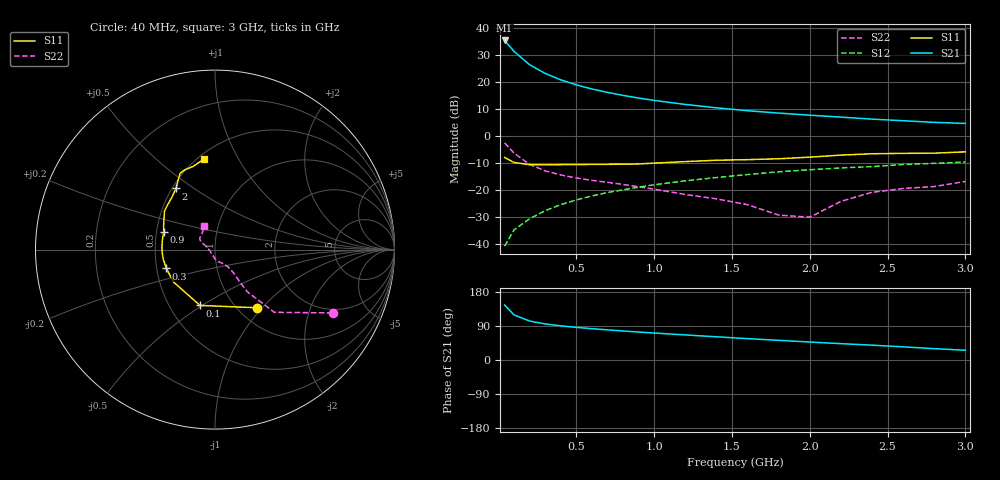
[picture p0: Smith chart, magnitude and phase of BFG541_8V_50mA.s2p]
! Filename:  BFG541L.S2P  Version:  3.0
! Philips part #: BFG541  Date: Feb 1992
! Bias condition: Vce=8V, Ic=50mA
#  MHz  S  MA  R  50
! Freq  S11  S21  S12  S22  !GUM [dB]
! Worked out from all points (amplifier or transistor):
!   21 points, 40 MHz to 3 GHz, reference 50 ohm
!   highest |S21| = 35.4 dB at 40 MHz (marker M1)
!   |S21| within 3 dB of that: start of sweep to 84.66 MHz
!   unconditionally stable (mu >= 1): 416.9 MHz to 2.911 GHz
!   at 300 MHz: K = 0.97, MSG = 25.5 dB, |S12| = -27.7 dB
!   at 1 GHz: K = 1.05, MAG = 14.3 dB, |S12| = -18.1 dB
!   at 3 GHz: K = 0.99, MSG = 7.2 dB, |S12| = -9.7 dB
!   S11 on the Smith chart (normalised r, x): 40 MHz: 1.21, -0.93; 100 MHz: 0.71, -0.49; 300 MHz: 0.56, -0.13; 900 MHz: 0.55, +0.12; 2 GHz: 0.52, +0.43; 3 GHz: 0.54, +0.73
40  0.399 -54.3  59.17 145.2  0.009 72.8  0.744 -28.3
100  0.322 -105.0  37.2 119.1  0.018 68.0  0.481 -46.6
200  0.293 -141.7  21.05 102.9  0.029 70.9  0.297 -52.5
300  0.291 -158.9  14.5 95.2  0.041 73.2  0.225 -52.5
400  0.293 -169.2  11.01 90.1  0.053 73.8  0.189 -51.8
500  0.295 -176.7  8.883 86.2  0.065 73.9  0.166 -51.5
600  0.296 177.4  7.457 82.6  0.077 73.6  0.15 -51.7
700  0.297 171.9  6.437 79.6  0.089 73.1  0.138 -52.1
800  0.299 166.3  5.668 76.6  0.1 72.2  0.126 -52.6
900  0.302 161.0  5.06 73.8  0.112 71.2  0.114 -54.0
1000  0.313 156.2  4.568 71.2  0.124 70.3  0.103 -56.3
1200  0.334 148.3  3.841 66.2  0.147 67.9  0.082 -64.4
1400  0.354 142.6  3.33 61.2  0.169 65.4  0.068 -77.1
1600  0.363 136.8  2.939 56.4  0.192 63.3  0.053 -89.9
1800  0.377 129.8  2.656 51.9  0.216 59.9  0.034 -111.7
2000  0.404 122.5  2.427 47.4  0.236 57.6  0.031 -173.9
2200  0.441 117.6  2.237 43.1  0.255 54.9  0.061 156.5
2400  0.467 114.6  2.053 39.2  0.27 53.1  0.09 151.4
2600  0.475 111.1  1.915 34.7  0.295 49.5  0.106 144.0
2800  0.479 104.8  1.786 29.9  0.31 45.4  0.115 129.3
3000  0.507 97.2  1.706 25.7  0.328 43.4  0.143 114.4
